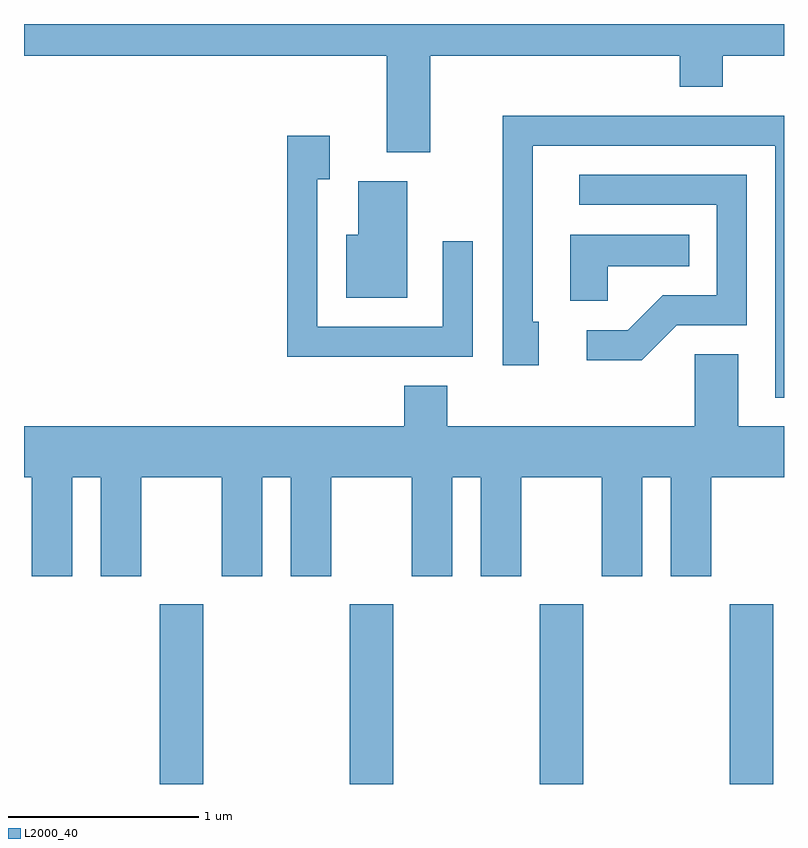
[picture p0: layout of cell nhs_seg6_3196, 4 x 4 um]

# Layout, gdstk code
import gdstk
lib = gdstk.Library(unit=1e-6, precision=1e-09)
def R(c, l, rs):  # rectangles x0, y0, x1, y1
    for r in rs: c.add(gdstk.rectangle(r[:2], r[2:], *l))
def A(c, l, x, y, w, h, nx, ny, dx, dy):  # array of equal rectangles
    R(c, l, [(x+i*dx, y+j*dy, x+i*dx+w, y+j*dy+h) for i in range(nx) for j in range(ny)])
def P(c, l, *ps):  # polygons
    for p in ps: c.add(gdstk.Polygon(p, *l))
L2000_40 = (2000, 40)

nhs_seg6_3196 = lib.new_cell('nhs_seg6_3196')
A(nhs_seg6_3196, L2000_40, 282.326, 1586.162, 0.228, 0.947, 4, 1, 1, 0)
P(nhs_seg6_3196, L2000_40, [(283.749,1589.996),(285.061,1589.996),(285.061,1589.831),(285.289,1589.831),(285.289,1589.996),(285.611,1589.996),(285.611,1590.162),(281.611,1590.162),(281.611,1589.996),(283.521,1589.996),(283.521,1589.486),(283.749,1589.486)],
  [(285.611,1589.679),(284.131,1589.679),(284.131,1588.366),(284.319,1588.366),(284.319,1588.594),(284.289,1588.594),(284.289,1589.521),(285.566,1589.521),(285.566,1588.196),(285.611,1588.196)],
  [(283.974,1589.018),(283.816,1589.018),(283.816,1588.569),(283.154,1588.569),(283.154,1589.346),(283.219,1589.346),(283.219,1589.574),(282.996,1589.574),(282.996,1588.411),(283.974,1588.411)],
  [(285.047,1588.576),(285.414,1588.576),(285.414,1589.369),(284.533,1589.369),(284.533,1589.211),(285.256,1589.211),(285.256,1588.734),(284.974,1588.734),(284.789,1588.549),(284.573,1588.549),(284.573,1588.391),(284.862,1588.391)],
  [(283.629,1589.334),(283.371,1589.334),(283.371,1589.054),(283.306,1589.054),(283.306,1588.721),(283.629,1588.721)],
  [(284.684,1588.886),(285.113,1588.886),(285.113,1589.054),(284.486,1589.054),(284.486,1588.706),(284.684,1588.706)],
  [(281.864,1587.776),(282.016,1587.776),(282.016,1587.256),(282.229,1587.256),(282.229,1587.776),(282.651,1587.776),(282.651,1587.256),(282.864,1587.256),(282.864,1587.776),(283.016,1587.776),(283.016,1587.256),(283.229,1587.256),(283.229,1587.776),(283.651,1587.776),(283.651,1587.256),(283.864,1587.256),(283.864,1587.776),(284.016,1587.776),(284.016,1587.256),(284.229,1587.256),(284.229,1587.776),(284.651,1587.776),(284.651,1587.256),(284.864,1587.256),(284.864,1587.776),(285.016,1587.776),(285.016,1587.256),(285.229,1587.256),(285.229,1587.776),(285.611,1587.776),(285.611,1588.044),(285.369,1588.044),(285.369,1588.424),(285.141,1588.424),(285.141,1588.044),(283.839,1588.044),(283.839,1588.259),(283.611,1588.259),(283.611,1588.044),(281.611,1588.044),(281.611,1587.776),(281.651,1587.776),(281.651,1587.256),(281.864,1587.256)])

lib.write_gds('nhs_seg6_3196.gds')
